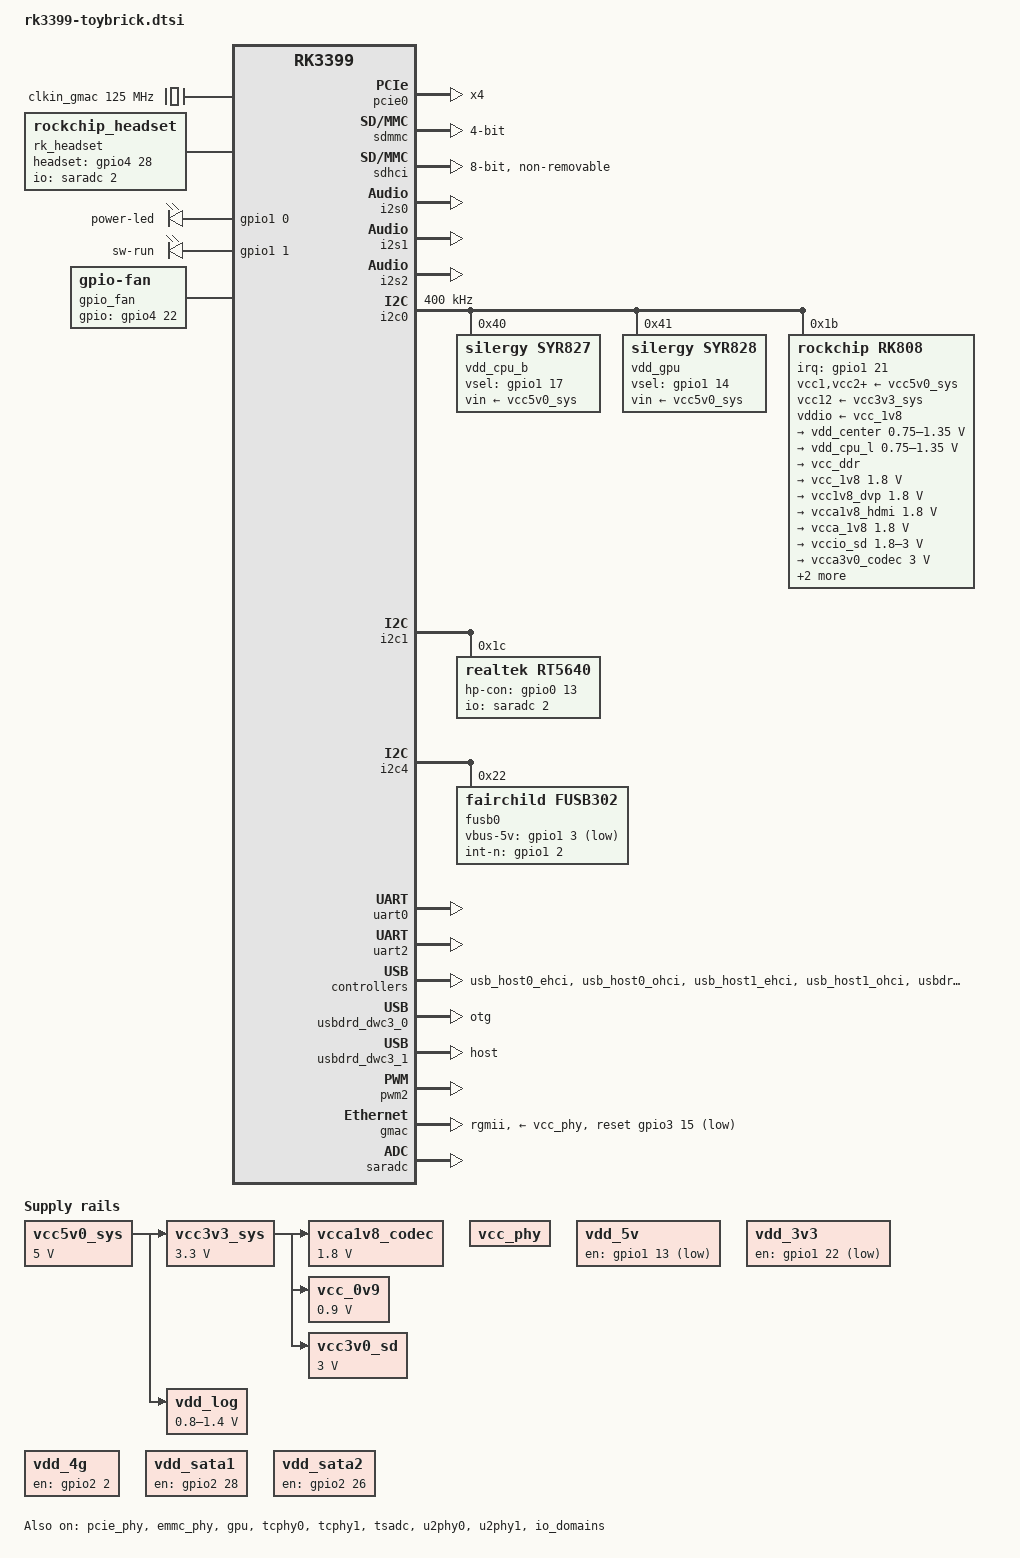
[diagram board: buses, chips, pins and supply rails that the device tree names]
/*
 * Copyright (c) 2016 Fuzhou Rockchip Electronics Co., Ltd
 *
 * This file is dual-licensed: you can use it either under the terms
 * of the GPL or the X11 license, at your option. Note that this dual
 * licensing only applies to this file, and not this project as a
 * whole.
 *
 *  a) This file is free software; you can redistribute it and/or
 *     modify it under the terms of the GNU General Public License as
 *     published by the Free Software Foundation; either version 2 of the
 *     License, or (at your option) any later version.
 *
 *     This file is distributed in the hope that it will be useful,
 *     but WITHOUT ANY WARRANTY; without even the implied warranty of
 *     MERCHANTABILITY or FITNESS FOR A PARTICULAR PURPOSE.  See the
 *     GNU General Public License for more details.
 *
 * Or, alternatively,
 *
 *  b) Permission is hereby granted, free of charge, to any person
 *     obtaining a copy of this software and associated documentation
 *     files (the "Software"), to deal in the Software without
 *     restriction, including without limitation the rights to use,
 *     copy, modify, merge, publish, distribute, sublicense, and/or
 *     sell copies of the Software, and to permit persons to whom the
 *     Software is furnished to do so, subject to the following
 *     conditions:
 *
 *     The above copyright notice and this permission notice shall be
 *     included in all copies or substantial portions of the Software.
 *
 *     THE SOFTWARE IS PROVIDED "AS IS", WITHOUT WARRANTY OF ANY KIND,
 *     EXPRESS OR IMPLIED, INCLUDING BUT NOT LIMITED TO THE WARRANTIES
 *     OF MERCHANTABILITY, FITNESS FOR A PARTICULAR PURPOSE AND
 *     NONINFRINGEMENT. IN NO EVENT SHALL THE AUTHORS OR COPYRIGHT
 *     HOLDERS BE LIABLE FOR ANY CLAIM, DAMAGES OR OTHER LIABILITY,
 *     WHETHER IN AN ACTION OF CONTRACT, TORT OR OTHERWISE, ARISING
 *     FROM, OUT OF OR IN CONNECTION WITH THE SOFTWARE OR THE USE OR
 *     OTHER DEALINGS IN THE SOFTWARE.
 */

#include "dt-bindings/pwm/pwm.h"
#include "rk3399.dtsi"
#include "rk3399-opp.dtsi"

/ {
	compatible = "rockchip,rk3399-toybrick","rockchip,rk3399";

	vcc5v0_sys: vcc5v0-sys {
		compatible = "regulator-fixed";
		regulator-name = "vcc5v0_sys";
		regulator-min-microvolt = <5000000>;
		regulator-max-microvolt = <5000000>;
		regulator-always-on;
		regulator-boot-on;
	};

	vcc3v3_sys: vcc3v3-sys {
		compatible = "regulator-fixed";
		regulator-name = "vcc3v3_sys";
		regulator-min-microvolt = <3300000>;
		regulator-max-microvolt = <3300000>;
		regulator-always-on;
		regulator-boot-on;
		vin-supply = <&vcc5v0_sys>;
	};

	vcca1v8_codec: vcca1v8-codec {
		compatible = "regulator-fixed";
		regulator-name = "vcca1v8_codec";
		regulator-min-microvolt = <1800000>;
		regulator-max-microvolt = <1800000>;
		regulator-always-on;
		regulator-boot-on;
		vin-supply = <&vcc3v3_sys>;
	};

	vcc_0v9: vcc-0v9 {
		compatible = "regulator-fixed";
		regulator-name = "vcc_0v9";
		regulator-min-microvolt = <900000>;
		regulator-max-microvolt = <900000>;
		regulator-always-on;
		regulator-boot-on;
		vin-supply = <&vcc3v3_sys>;
	};

	vcc3v0_sd: vcc3v0-sd {
		compatible = "regulator-fixed";
		regulator-name = "vcc3v0_sd";
		regulator-min-microvolt = <3000000>;
		regulator-max-microvolt = <3000000>;
		regulator-always-on;
		regulator-boot-on;
		vin-supply = <&vcc3v3_sys>;
	};

	vcc_phy: vcc-phy-regulator {
		compatible = "regulator-fixed";
		regulator-name = "vcc_phy";
		regulator-always-on;
		regulator-boot-on;
	};

	vdd_log: vdd-log {
		compatible = "pwm-regulator";
		pwms = <&pwm2 0 25000 1>;
		regulator-name = "vdd_log";
		regulator-min-microvolt = <800000>;
		regulator-max-microvolt = <1400000>;
		regulator-always-on;
		regulator-boot-on;

		/* for rockchip boot on */
		rockchip,pwm_id= <2>;
		rockchip,pwm_voltage = <900000>;

		vin-supply = <&vcc5v0_sys>;
	};

	vdd_5v:  vdd-5v {
                compatible = "regulator-fixed";
                regulator-name = "vdd_5v";
                enable-active-low;
                gpio = <&gpio1 13 GPIO_ACTIVE_LOW>;
                pinctrl-names = "default";
                pinctrl-0 = <&vdd_5v_en>;
                regulator-always-on;
                regulator-boot-on;
        };

	vdd_3v3:  vdd-3v3 {
                compatible = "regulator-fixed";
                regulator-name = "vdd_3v3";
                enable-active-low;
                gpio = <&gpio1 22 GPIO_ACTIVE_LOW>;
                pinctrl-names = "default";
                pinctrl-0 = <&vdd_3v3_en>;
                regulator-always-on;
                regulator-boot-on;
        };

	vdd_4g:  vdd-4g {
                compatible = "regulator-fixed";
                regulator-name = "vdd_4g";
                enable-active-high;
                gpio = <&gpio2 2 GPIO_ACTIVE_HIGH>;
                pinctrl-names = "default";
                pinctrl-0 = <&vdd_4g_en>;
                regulator-always-on;
                regulator-boot-on;
        };

	vdd_sata1: vdd-sata1 {
                compatible = "regulator-fixed";
                regulator-name = "vdd_sata1";
                enable-active-high;
                gpio = <&gpio2 28 GPIO_ACTIVE_HIGH>;
                pinctrl-names = "default";
                pinctrl-0 = <&sata_power1>;
                regulator-always-on;
                regulator-boot-on;
        };

	vdd_sata2: vdd-sata2 {
                compatible = "regulator-fixed";
                regulator-name = "vdd_sata2";
                enable-active-high;
                gpio = <&gpio2 26 GPIO_ACTIVE_HIGH>;
                pinctrl-names = "default";
                pinctrl-0 = <&sata_power2>;
                regulator-always-on;
                regulator-boot-on;
        };

	clkin_gmac: external-gmac-clock {
		compatible = "fixed-clock";
		clock-frequency = <125000000>;
		clock-output-names = "clkin_gmac";
		#clock-cells = <0>;
	};

	rt5640_sound: rt5640-sound {
		compatible = "simple-audio-card";
		simple-audio-card,format = "i2s";
		simple-audio-card,name = "rockchip,rt5640-codec";
		simple-audio-card,mclk-fs = <256>;
		simple-audio-card,widgets =
			"Microphone", "Mic Jack",
			"Headphone", "Headphone Jack";
		simple-audio-card,routing =
			"Mic Jack", "MICBIAS1",
			"IN1P", "Mic Jack",
			"Headphone Jack", "HPOL",
			"Headphone Jack", "HPOR";
		simple-audio-card,cpu {
			sound-dai = <&i2s0>;
		};
		simple-audio-card,codec {
			sound-dai = <&rt5640>;
		};
	};

	rk_headset: rk-headset {
		compatible = "rockchip_headset";
		headset_gpio = <&gpio4 28 GPIO_ACTIVE_HIGH>;
		pinctrl-names = "default";
		pinctrl-0 = <&hp_det>;
		io-channels = <&saradc 2>;
	};

	gpio_leds: gpio-leds {
		compatible = "gpio-leds";
		pinctrl-names = "default";
		pinctrl-0 =<&leds_gpio>;

		led@1 {
			gpios = <&gpio1 0 GPIO_ACTIVE_HIGH>;
			label = "power-led";
			retain-state-suspended;
		};

		led@2 {
			gpios = <&gpio1 1 GPIO_ACTIVE_HIGH>;
			label = "sw-run";
		};
	};

	gpio_fan: gpio_fan {
		compatible = "gpio-fan";
		pinctrl-names = "default";
		pinctrl-0 = <&fan_ctl>;
		gpios = <&gpio4 22 GPIO_ACTIVE_HIGH>;
		gpio-fan,speed-map = <0 0 3000 1>;
		rockchip,thermal-zone = "soc-thermal";
		rockchip,temp-trips = <0 0 60000 1>;
		rockchip,temp-tolerate = <3000>;
		#cooling-cells = <2>;
		status = "okay";
        };
};

&pcie_phy {
        status = "okay";
};

&pcie0 {
        ep-gpios = <&gpio1 18 GPIO_ACTIVE_HIGH>;
        num-lanes = <4>;
        pinctrl-names = "default";
        pinctrl-0 = <&pcie_clkreqn_cpm &pcie_ep>;
        status = "okay";
};

&sdmmc {
	clock-frequency = <100000000>;
	clock-freq-min-max = <100000 100000000>;
	supports-sd;
	bus-width = <4>;
	cap-mmc-highspeed;
	cap-sd-highspeed;
	disable-wp;
	num-slots = <1>;
	//sd-uhs-sdr104;
	vqmmc-supply = <&vcc3v0_sd>;
	pinctrl-names = "default";
	pinctrl-0 = <&sdmmc_clk &sdmmc_cmd &sdmmc_cd &sdmmc_bus4>;
	card-detect-delay = <800>;
	status = "okay";
};

&emmc_phy {
	status = "okay";
};

&sdhci {
	bus-width = <8>;
	mmc-hs400-1_8v;
	supports-emmc;
	non-removable;
	mmc-hs400-enhanced-strobe;
	status = "okay";
};

&i2s0 {
	status = "okay";
	rockchip,i2s-broken-burst-len;
	rockchip,playback-channels = <8>;
	rockchip,capture-channels = <8>;
	#sound-dai-cells = <0>;
};

&i2s1 {
	status = "okay";
	rockchip,i2s-broken-burst-len;
	rockchip,playback-channels = <2>;
	rockchip,capture-channels = <2>;
	#sound-dai-cells = <0>;
};

&i2s2 {
        status = "okay";
        #sound-dai-cells = <0>;
};

&i2c0 {
	status = "okay";
	i2c-scl-rising-time-ns = <168>;
	i2c-scl-falling-time-ns = <4>;
	clock-frequency = <400000>;

	vdd_cpu_b: syr827@40 {
		compatible = "silergy,syr827";
		reg = <0x40>;
		regulator-compatible = "fan53555-reg";
		pinctrl-0 = <&vsel1_gpio>;
		vsel-gpios = <&gpio1 17 GPIO_ACTIVE_HIGH>;
		regulator-name = "vdd_cpu_b";
		regulator-min-microvolt = <712500>;
		regulator-max-microvolt = <1500000>;
		regulator-ramp-delay = <1000>;
		fcs,suspend-voltage-selector = <1>;
		regulator-initial-state = <3>;
		regulator-always-on;
		regulator-boot-on;
		vin-supply = <&vcc5v0_sys>;
		regulator-state-mem {
			regulator-off-in-suspend;
		};
	};

	vdd_gpu: syr828@41 {
		compatible = "silergy,syr828";
		reg = <0x41>;
		regulator-compatible = "fan53555-reg";
		pinctrl-0 = <&vsel2_gpio>;
		vsel-gpios = <&gpio1 14 GPIO_ACTIVE_HIGH>;
		regulator-name = "vdd_gpu";
		regulator-min-microvolt = <712500>;
		regulator-max-microvolt = <1500000>;
		regulator-ramp-delay = <1000>;
		fcs,suspend-voltage-selector = <1>;
		regulator-always-on;
		regulator-boot-on;
		vin-supply = <&vcc5v0_sys>;
		regulator-initial-mode = <3>;
		regulator-state-mem {
			regulator-off-in-suspend;
		};
	};

	rk808: pmic@1b {
		compatible = "rockchip,rk808";
		reg = <0x1b>;
		interrupt-parent = <&gpio1>;
		interrupts = <21 IRQ_TYPE_LEVEL_LOW>;
		pinctrl-names = "default";
		pinctrl-0 = <&pmic_int_l>;
		rockchip,system-power-controller;
		wakeup-source;
		#clock-cells = <1>;
		clock-output-names = "xin32k", "rk808-clkout2";

		vcc1-supply = <&vcc5v0_sys>;
		vcc2-supply = <&vcc5v0_sys>;
		vcc3-supply = <&vcc5v0_sys>;
		vcc4-supply = <&vcc5v0_sys>;
		vcc6-supply = <&vcc5v0_sys>;
		vcc7-supply = <&vcc5v0_sys>;
		vcc9-supply = <&vcc5v0_sys>;
		vcc10-supply = <&vcc5v0_sys>;
		vcc11-supply = <&vcc5v0_sys>;
		vcc12-supply = <&vcc3v3_sys>;
		vddio-supply = <&vcc_1v8>;

		regulators {
			vdd_center: DCDC_REG1 {
				regulator-name = "vdd_center";
				regulator-min-microvolt = <750000>;
				regulator-max-microvolt = <1350000>;
				regulator-ramp-delay = <6001>;
				regulator-always-on;
				regulator-boot-on;
				regulator-state-mem {
					regulator-off-in-suspend;
				};
			};

			vdd_cpu_l: DCDC_REG2 {
				regulator-name = "vdd_cpu_l";
				regulator-min-microvolt = <750000>;
				regulator-max-microvolt = <1350000>;
				regulator-ramp-delay = <6001>;
				regulator-always-on;
				regulator-boot-on;
				regulator-state-mem {
					regulator-off-in-suspend;
				};
			};

			vcc_ddr: DCDC_REG3 {
				regulator-name = "vcc_ddr";
				regulator-always-on;
				regulator-boot-on;
				regulator-state-mem {
					regulator-on-in-suspend;
				};
			};

			vcc_1v8: DCDC_REG4 {
				regulator-name = "vcc_1v8";
				regulator-min-microvolt = <1800000>;
				regulator-max-microvolt = <1800000>;
				regulator-always-on;
				regulator-boot-on;
				regulator-state-mem {
					regulator-on-in-suspend;
					regulator-suspend-microvolt = <1800000>;
				};
			};

			/* Ldo1: Unused on dolphin board */
			vcc1v8_dvp: LDO_REG1 {
				regulator-name = "vcc1v8_dvp";
				regulator-min-microvolt = <1800000>;
				regulator-max-microvolt = <1800000>;
				regulator-always-on;
				regulator-boot-on;
				regulator-state-mem {
					regulator-on-in-suspend;
					regulator-suspend-microvolt = <1800000>;
				};
			};

			vcca1v8_hdmi: LDO_REG2 {
				regulator-name = "vcca1v8_hdmi";
				regulator-min-microvolt = <1800000>;
				regulator-max-microvolt = <1800000>;
				regulator-always-on;
				regulator-boot-on;
				regulator-state-mem {
					regulator-on-in-suspend;
					regulator-suspend-microvolt = <1800000>;
				};
			};

			vcca_1v8: LDO_REG3 {
				regulator-name = "vcca_1v8";
				regulator-min-microvolt = <1800000>;
				regulator-max-microvolt = <1800000>;
				regulator-always-on;
				regulator-boot-on;
				regulator-state-mem {
					regulator-on-in-suspend;
					regulator-suspend-microvolt = <1800000>;
				};
			};

			vccio_sd: LDO_REG4 {
				regulator-name = "vccio_sd";
				regulator-min-microvolt = <1800000>;
				regulator-max-microvolt = <3000000>;
				regulator-always-on;
				regulator-boot-on;
				regulator-state-mem {
					regulator-on-in-suspend;
					regulator-suspend-microvolt = <3000000>;
				};
			};

			vcca3v0_codec: LDO_REG5 {
				regulator-name = "vcca3v0_codec";
				regulator-min-microvolt = <3000000>;
				regulator-max-microvolt = <3000000>;
				regulator-always-on;
				regulator-boot-on;
				regulator-state-mem {
					regulator-on-in-suspend;
					regulator-suspend-microvolt = <3000000>;
				};
			};

			vcc_1v5: LDO_REG6 {
				regulator-name = "vcc_1v5";
				regulator-min-microvolt = <1500000>;
				regulator-max-microvolt = <1500000>;
				regulator-always-on;
				regulator-boot-on;
				regulator-state-mem {
					regulator-on-in-suspend;
					regulator-suspend-microvolt = <1500000>;
				};
			};

			vcca0v9_hdmi: LDO_REG7 {
				regulator-name = "vcca0v9_hdmi";
				regulator-min-microvolt = <900000>;
				regulator-max-microvolt = <900000>;
				regulator-always-on;
				regulator-boot-on;
				regulator-state-mem {
					regulator-on-in-suspend;
					regulator-suspend-microvolt = <900000>;
				};
			};

			vcc_3v0: LDO_REG8 {
				regulator-name = "vcc_3v0";
				regulator-min-microvolt = <3000000>;
				regulator-max-microvolt = <3000000>;
				regulator-always-on;
				regulator-boot-on;
				regulator-state-mem {
					regulator-on-in-suspend;
					regulator-suspend-microvolt = <3000000>;
				};
			};

			/* Switch1: Unused on dolphin board */
			vcc3v3_s3: SWITCH_REG1 {
				regulator-name = "vcc3v3_s3";
				regulator-always-on;
				regulator-boot-on;
				regulator-state-mem {
					regulator-on-in-suspend;
				};
			};

			vcc3v3_s0: SWITCH_REG2 {
				regulator-name = "vcc3v3_s0";
				regulator-always-on;
				regulator-boot-on;
				regulator-state-mem {
					regulator-on-in-suspend;
				};
			};
		};
	};
};

&i2c1 {
	status = "okay";
	i2c-scl-rising-time-ns = <300>;
 	i2c-scl-falling-time-ns = <15>;

 	rt5640: rt5640@1c {
		#sound-dai-cells = <0>;
		compatible = "realtek,rt5640";
		reg = <0x1c>;
		clocks = <&cru SCLK_I2S_8CH_OUT>;
		clock-names = "mclk";
		realtek,in1-differential;
		pinctrl-names = "default";
		pinctrl-0 = <&rt5640_hpcon &i2s_8ch_mclk>;
		hp-con-gpio = <&gpio0 13 GPIO_ACTIVE_HIGH>;
		io-channels = <&saradc 2>;
		hp-det-adc-value = <500>;
                status = "okay";
        };
};

&i2c4 {
        status = "okay";
        fusb0: fusb30x@22 {
                compatible = "fairchild,fusb302";
                reg = <0x22>;
                pinctrl-names = "default";
                pinctrl-0 = <&fusb0_int>;
                vbus-5v-gpios = <&gpio1 3 GPIO_ACTIVE_LOW>;   /*VCC5V0_TYPEC0_EN: GPIO1_A3 */
                int-n-gpios = <&gpio1 2 GPIO_ACTIVE_HIGH>;   /*TYPEC0_CC_INT_L: GPIO1_A2 */
                status = "okay";
        };
};

&cpu_l0 {
	cpu-supply = <&vdd_cpu_l>;
};

&cpu_l1 {
	cpu-supply = <&vdd_cpu_l>;
};

&cpu_l2 {
	cpu-supply = <&vdd_cpu_l>;
};

&cpu_l3 {
	cpu-supply = <&vdd_cpu_l>;
};

&cpu_b0 {
	cpu-supply = <&vdd_cpu_b>;
};

&cpu_b1 {
	cpu-supply = <&vdd_cpu_b>;
};

&gpu {
	status = "okay";
	mali-supply = <&vdd_gpu>;
};

&tcphy0 {
	extcon = <&fusb0>;
	status = "okay";
};

&tcphy1 {
	status = "okay";
};

&tsadc {
	/* tshut mode 0:CRU 1:GPIO */
	rockchip,hw-tshut-mode = <1>;
	/* tshut polarity 0:LOW 1:HIGH */
	rockchip,hw-tshut-polarity = <1>;
	rockchip,hw-tshut-temp = <110000>;
	status = "okay";
};

&u2phy0 {
	status = "okay";
	extcon = <&fusb0>;

	u2phy0_otg: otg-port {
		status = "okay";
	};

	u2phy0_host: host-port {
		phy-supply = <&vdd_5v>;
		status = "okay";
	};
};

&u2phy1 {
	status = "okay";

	u2phy1_otg: otg-port {
		status = "okay";
	};

	u2phy1_host: host-port {
		phy-supply = <&vdd_5v>;
		status = "okay";
	};
};

&uart0 {
	pinctrl-names = "default";
	pinctrl-0 = <&uart0_xfer &uart0_cts>;
	status = "okay";
};

&uart2 {
	status = "okay";
};

&usb_host0_ehci {
	status = "okay";
};

&usb_host0_ohci {
	status = "okay";
};

&usb_host1_ehci {
	status = "okay";
};

&usb_host1_ohci {
	status = "okay";
};

&usbdrd3_0 {
	extcon = <&fusb0>;
	status = "okay";
};

&usbdrd_dwc3_0 {
	dr_mode = "otg";
	status = "okay";
};

&usbdrd3_1 {
	status = "okay";
};

&usbdrd_dwc3_1 {
	dr_mode = "host";
	status = "okay";
};

&pwm2 {
	status = "okay";
};

&gmac {
	phy-supply = <&vcc_phy>;
	phy-mode = "rgmii";
	clock_in_out = "input";
	snps,reset-gpio = <&gpio3 15 GPIO_ACTIVE_LOW>;
	snps,reset-active-low;
	snps,reset-delays-us = <0 10000 50000>;
	assigned-clocks = <&cru SCLK_RMII_SRC>;
	assigned-clock-parents = <&clkin_gmac>;
	pinctrl-names = "default", "sleep";
	pinctrl-0 = <&rgmii_pins>;
	//pinctrl-1 = <&rgmii_sleep_pins>;
	tx_delay = <0x28>;
	rx_delay = <0x11>;
	status = "okay";
};

&saradc {
	status = "okay";
};

&i2s1 {
	status = "okay";
};

&io_domains {
	status = "okay";

	bt656-supply = <&vcc_3v0>; /* APIO2_VDD */
	audio-supply = <&vcca1v8_codec>; /* APIO5_VDD */
	sdmmc-supply = <&vccio_sd>; /* SDMMC0_VDD */
	gpio1830-supply = <&vcc_3v0>; /* APIO4_VDD */
};

&pmu_io_domains {
	status = "okay";
	pmu1830-supply = <&vcc_1v8>;
};

&rockchip_suspend {
	status = "okay";
	rockchip,sleep-debug-en = <1>;
	rockchip,sleep-mode-config = <
		(0
		| RKPM_SLP_ARMPD
		| RKPM_SLP_PERILPPD
		| RKPM_SLP_DDR_RET
		| RKPM_SLP_PLLPD
		| RKPM_SLP_CENTER_PD
		| RKPM_SLP_AP_PWROFF
		)
	>;
	rockchip,wakeup-config = <
		(0
		| RKPM_GPIO_WKUP_EN
		| RKPM_PWM_WKUP_EN
		)
	>;
	rockchip,pwm-regulator-config = <
		(0
		| PWM2_REGULATOR_EN
		)
	>;
	rockchip,power-ctrl =
		<&gpio1 17 GPIO_ACTIVE_HIGH>,
		<&gpio1 14 GPIO_ACTIVE_HIGH>;
};

&pinctrl {
	pmic {
		pmic_int_l: pmic-int-l {
			rockchip,pins =
				<1 21 RK_FUNC_GPIO &pcfg_pull_up>;
		};

		vsel1_gpio: vsel1-gpio {
			rockchip,pins =
				<1 17 RK_FUNC_GPIO &pcfg_pull_down>;
		};

		vsel2_gpio: vsel2-gpio {
			rockchip,pins =
				<1 14 RK_FUNC_GPIO &pcfg_pull_down>;
		};
	};
	
	vdd_pwr {
		vdd_5v_en: vdd-5v-en {
			rockchip,pins =
				<1 13 RK_FUNC_GPIO &pcfg_pull_down>;
		};

		vdd_3v3_en: vdd-3v3-en {
			rockchip,pins =
				<1 22 RK_FUNC_GPIO &pcfg_pull_down>;
		};

		vdd_4g_en: vdd-4g-en {
			rockchip,pins =
				<2 2 RK_FUNC_GPIO &pcfg_pull_up>;
		};

		sata_power1: sata-power1 {
			rockchip,pins = <2 28 RK_FUNC_GPIO &pcfg_pull_up>;
		};

		sata_power2: sata-power2 {
			rockchip,pins = <2 26 RK_FUNC_GPIO &pcfg_pull_up>;
		};
	};

	rt5640 {
                rt5640_hpcon: rt5640-hpcon {
                        rockchip,pins = <0 13 RK_FUNC_GPIO &pcfg_pull_none>;
                };
        };

	headphone {
		hp_det: hp-det {
			rockchip,pins = <4 28 RK_FUNC_GPIO &pcfg_pull_up>;
		};
        };

	gpio-leds {
		leds_gpio: leds-gpio {
			rockchip,pins =
				<1 0 RK_FUNC_GPIO &pcfg_pull_up>,
				<1 1 RK_FUNC_GPIO &pcfg_pull_up>;
		};
	};

	pcie {
		pcie_ep: pcie-ep {
			rockchip,pins = <1 18 RK_FUNC_GPIO &pcfg_pull_up>;
		};
	};
	fusb30x {
		fusb0_int: fusb0-int {
			rockchip,pins =
				<1 2 RK_FUNC_GPIO &pcfg_pull_up>,
				<0 12 RK_FUNC_GPIO &pcfg_pull_up>;
		};
	};

	fan_ctl: fan-ctl {
		rockchip,pins =
			<4 22 RK_FUNC_GPIO &pcfg_pull_up>;
	};
};
